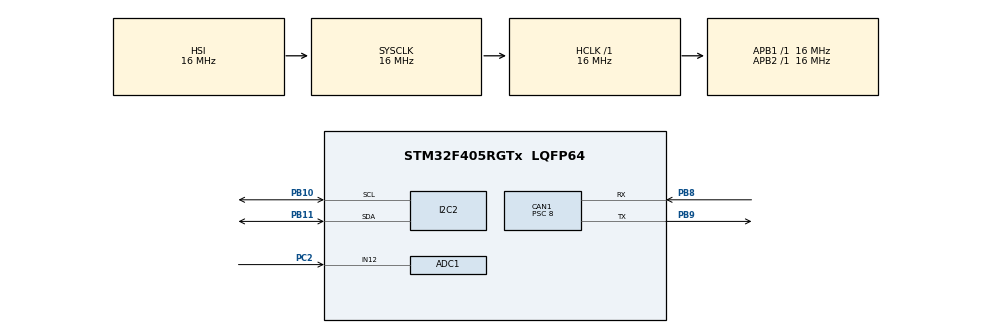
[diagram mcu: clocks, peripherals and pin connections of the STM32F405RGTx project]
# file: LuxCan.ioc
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ADC1.Channel-0\#ChannelRegularConversion=ADC_CHANNEL_12
ADC1.NbrOfConversionFlag=1
ADC1.Rank-0\#ChannelRegularConversion=1
ADC1.SamplingTime-0\#ChannelRegularConversion=ADC_SAMPLETIME_3CYCLES
ADC1.master=1
CAN1.BS1=CAN_BS1_13TQ
CAN1.BS2=CAN_BS2_2TQ
CAN1.CalculateBaudRate=125000
CAN1.CalculateTimeBit=8000
CAN1.CalculateTimeQuantum=500.0
CAN1.NART=ENABLE
CAN1.Prescaler=8
Mcu.Family=STM32F4
Mcu.Name=STM32F405RGTx
Mcu.Package=LQFP64
NVIC.PriorityGroup=NVIC_PRIORITYGROUP_4
PA13.Mode=Serial_Wire
PA13.Signal=SYS_JTMS-SWDIO
PA14.Mode=Serial_Wire
PA14.Signal=SYS_JTCK-SWCLK
PB10.GPIO_Pu=GPIO_PULLUP
PB10.Mode=I2C
PB10.Signal=I2C2_SCL
PB11.GPIO_Pu=GPIO_PULLUP
PB11.Mode=I2C
PB11.Signal=I2C2_SDA
PB8.Mode=CAN_Activate
PB8.Signal=CAN1_RX
PB9.Mode=CAN_Activate
PB9.Signal=CAN1_TX
PC14-OSC32_IN.Mode=LSE-External-Oscillator
PC14-OSC32_IN.Signal=RCC_OSC32_IN
PC15-OSC32_OUT.Mode=LSE-External-Oscillator
PC15-OSC32_OUT.Signal=RCC_OSC32_OUT
PC2.Signal=ADCx_IN12
PH0-OSC_IN.Mode=HSE-External-Oscillator
PH0-OSC_IN.Signal=RCC_OSC_IN
PH1-OSC_OUT.Mode=HSE-External-Oscillator
PH1-OSC_OUT.Signal=RCC_OSC_OUT
ProjectManager.HeapSize=0x200
ProjectManager.StackSize=0x400
ProjectManager.TargetToolchain=STM32CubeIDE
RCC.AHBFreq_Value=16000000
RCC.APB1Freq_Value=16000000
RCC.APB2Freq_Value=16000000
RCC.CortexFreq_Value=16000000
RCC.HSE_VALUE=25000000
RCC.HSI_VALUE=16000000
RCC.SYSCLKFreq_VALUE=16000000
RCC.VCOOutputFreq_Value=192000000
SH.ADCx_IN12.0=ADC1_IN12,IN12
board=custom

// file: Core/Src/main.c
/* USER CODE BEGIN Header */
/**
  ******************************************************************************
  * @file           : main.c
  * @brief          : Main program body
  ******************************************************************************
  * @attention
  *
  * Copyright (c) 2026 STMicroelectronics.
  * All rights reserved.
  *
  * This software is licensed under terms that can be found in the LICENSE file
  * in the root directory of this software component.
  * If no LICENSE file comes with this software, it is provided AS-IS.
  *
  ******************************************************************************
  */
/* USER CODE END Header */
#include "main.h"

/* USER CODE BEGIN Includes */
#include<string.h>
#include<stdio.h>

/* USER CODE END Includes */

/* USER CODE BEGIN PD */
#define SLAVE_ADDR (0x23<<1)

/* USER CODE END PD */

ADC_HandleTypeDef hadc1;

CAN_HandleTypeDef hcan1;

I2C_HandleTypeDef hi2c2;

void SystemClock_Config(void);
static void MX_GPIO_Init(void);
static void MX_CAN1_Init(void);
static void MX_I2C2_Init(void);
static void MX_ADC1_Init(void);
/* USER CODE BEGIN PFP */
 void can_sub(void);
 void CAN_Filter_Config(void);
/* USER CODE END PFP */

/* USER CODE BEGIN 0 */
CAN_TxHeaderTypeDef TxHeader;
CAN_RxHeaderTypeDef RxHeader;

uint8_t tx[8];   //data
uint8_t rx[8];
uint32_t txmailbox;

uint8_t cmd;
uint8_t rex[2];
uint16_t raw;
float lux;

uint16_t adc;
uint16_t speed;

/* USER CODE END 0 */

int main(void)
{

  /* MCU Configuration--------------------------------------------------------*/

  /* Reset of all peripherals, Initializes the Flash interface and the Systick. */
  HAL_Init();

  /* Configure the system clock */
  SystemClock_Config();

  /* Initialize all configured peripherals */
  MX_GPIO_Init();
  MX_CAN1_Init();
  MX_I2C2_Init();
  MX_ADC1_Init();
  /* USER CODE BEGIN 2 */
  cmd=0x01; //Power On
   	  HAL_I2C_Master_Transmit(&hi2c2, SLAVE_ADDR, &cmd, 1, HAL_MAX_DELAY);
   	  HAL_Delay(50);

   	/*  cmd=0x07;  //Reset
   	  	  HAL_I2C_Master_Transmit(&hi2c2, SLAVE_ADDR, &cmd, 1, HAL_MAX_DELAY);
   	  	  HAL_Delay(50);*/

   	  	cmd=0x10;
   	  		  HAL_I2C_Master_Transmit(&hi2c2, SLAVE_ADDR, &cmd, 1, HAL_MAX_DELAY);
   	  		  HAL_Delay(180);  //continuous mode 120ms

  CAN_Filter_Config();
   HAL_CAN_Start(&hcan1);
   HAL_CAN_ActivateNotification(&hcan1, CAN_IT_RX_FIFO0_MSG_PENDING);
   can_sub();

  /* USER CODE END 2 */

  /* Infinite loop */
  while (1)
  {

    /* USER CODE BEGIN 3 */
	  HAL_I2C_Master_Receive(&hi2c2, SLAVE_ADDR, rex, 2, HAL_MAX_DELAY);
	  	  raw= (rex[0]<<8)|rex[1];
	  	  lux=raw/1.2f;
	  	 HAL_ADC_Start(&hadc1);
		 HAL_ADC_PollForConversion(&hadc1, HAL_MAX_DELAY);
		 adc=HAL_ADC_GetValue(&hadc1);
		 speed=(adc * 240)/4095;
		 tx[2]=speed;

         if(lux >500) //morning
         {
        	 tx[0]=0; //low beam led is on
        	 tx[1]=0; //high beam off

         }
         else if(lux>250)  //evening
         {
        	 tx[0]=1; //low on
        	 tx[1]=0; //high off
         }
         else{                 //night
              tx[0]=1;
              if(speed>90)
              {
            	  tx[1]=1;
              }
              else
              {
            	  tx[1]=0;
              }
         }

	     if (HAL_CAN_GetTxMailboxesFreeLevel(&hcan1) > 0)
	     {
	         HAL_CAN_AddTxMessage(&hcan1, &TxHeader, tx, &txmailbox);
	     }

	     HAL_Delay(100);
  }
  /* USER CODE END 3 */
}

void SystemClock_Config(void)
{
  RCC_OscInitTypeDef RCC_OscInitStruct = {0};
  RCC_ClkInitTypeDef RCC_ClkInitStruct = {0};

  /** Configure the main internal regulator output voltage
  */
  __HAL_RCC_PWR_CLK_ENABLE();
  __HAL_PWR_VOLTAGESCALING_CONFIG(PWR_REGULATOR_VOLTAGE_SCALE1);

  /** Initializes the RCC Oscillators according to the specified parameters
  * in the RCC_OscInitTypeDef structure.
  */
  RCC_OscInitStruct.OscillatorType = RCC_OSCILLATORTYPE_HSI;
  RCC_OscInitStruct.HSIState = RCC_HSI_ON;
  RCC_OscInitStruct.HSICalibrationValue = RCC_HSICALIBRATION_DEFAULT;
  RCC_OscInitStruct.PLL.PLLState = RCC_PLL_NONE;
  if (HAL_RCC_OscConfig(&RCC_OscInitStruct) != HAL_OK)
  {
    Error_Handler();
  }

  /** Initializes the CPU, AHB and APB buses clocks
  */
  RCC_ClkInitStruct.ClockType = RCC_CLOCKTYPE_HCLK|RCC_CLOCKTYPE_SYSCLK
                              |RCC_CLOCKTYPE_PCLK1|RCC_CLOCKTYPE_PCLK2;
  RCC_ClkInitStruct.SYSCLKSource = RCC_SYSCLKSOURCE_HSI;
  RCC_ClkInitStruct.AHBCLKDivider = RCC_SYSCLK_DIV1;
  RCC_ClkInitStruct.APB1CLKDivider = RCC_HCLK_DIV1;
  RCC_ClkInitStruct.APB2CLKDivider = RCC_HCLK_DIV1;

  if (HAL_RCC_ClockConfig(&RCC_ClkInitStruct, FLASH_LATENCY_0) != HAL_OK)
  {
    Error_Handler();
  }
}

static void MX_ADC1_Init(void)
{

  ADC_ChannelConfTypeDef sConfig = {0};

  /** Configure the global features of the ADC (Clock, Resolution, Data Alignment and number of conversion)
  */
  hadc1.Instance = ADC1;
  hadc1.Init.ClockPrescaler = ADC_CLOCK_SYNC_PCLK_DIV2;
  hadc1.Init.Resolution = ADC_RESOLUTION_12B;
  hadc1.Init.ScanConvMode = DISABLE;
  hadc1.Init.ContinuousConvMode = DISABLE;
  hadc1.Init.DiscontinuousConvMode = DISABLE;
  hadc1.Init.ExternalTrigConvEdge = ADC_EXTERNALTRIGCONVEDGE_NONE;
  hadc1.Init.ExternalTrigConv = ADC_SOFTWARE_START;
  hadc1.Init.DataAlign = ADC_DATAALIGN_RIGHT;
  hadc1.Init.NbrOfConversion = 1;
  hadc1.Init.DMAContinuousRequests = DISABLE;
  hadc1.Init.EOCSelection = ADC_EOC_SINGLE_CONV;
  if (HAL_ADC_Init(&hadc1) != HAL_OK)
  {
    Error_Handler();
  }

  /** Configure for the selected ADC regular channel its corresponding rank in the sequencer and its sample time.
  */
  sConfig.Channel = ADC_CHANNEL_12;
  sConfig.Rank = 1;
  sConfig.SamplingTime = ADC_SAMPLETIME_3CYCLES;
  if (HAL_ADC_ConfigChannel(&hadc1, &sConfig) != HAL_OK)
  {
    Error_Handler();
  }

}

static void MX_CAN1_Init(void)
{

  hcan1.Instance = CAN1;
  hcan1.Init.Prescaler = 8;
  hcan1.Init.Mode = CAN_MODE_NORMAL;
  hcan1.Init.SyncJumpWidth = CAN_SJW_1TQ;
  hcan1.Init.TimeSeg1 = CAN_BS1_13TQ;
  hcan1.Init.TimeSeg2 = CAN_BS2_2TQ;
  hcan1.Init.TimeTriggeredMode = DISABLE;
  hcan1.Init.AutoBusOff = DISABLE;
  hcan1.Init.AutoWakeUp = DISABLE;
  hcan1.Init.AutoRetransmission = ENABLE;
  hcan1.Init.ReceiveFifoLocked = DISABLE;
  hcan1.Init.TransmitFifoPriority = DISABLE;
  if (HAL_CAN_Init(&hcan1) != HAL_OK)
  {
    Error_Handler();
  }

}

static void MX_I2C2_Init(void)
{

  hi2c2.Instance = I2C2;
  hi2c2.Init.ClockSpeed = 100000;
  hi2c2.Init.DutyCycle = I2C_DUTYCYCLE_2;
  hi2c2.Init.OwnAddress1 = 0;
  hi2c2.Init.AddressingMode = I2C_ADDRESSINGMODE_7BIT;
  hi2c2.Init.DualAddressMode = I2C_DUALADDRESS_DISABLE;
  hi2c2.Init.OwnAddress2 = 0;
  hi2c2.Init.GeneralCallMode = I2C_GENERALCALL_DISABLE;
  hi2c2.Init.NoStretchMode = I2C_NOSTRETCH_DISABLE;
  if (HAL_I2C_Init(&hi2c2) != HAL_OK)
  {
    Error_Handler();
  }

}

static void MX_GPIO_Init(void)
{
  /* USER CODE BEGIN MX_GPIO_Init_1 */
	 GPIO_InitTypeDef GPIO_InitStruct = {0};

  /* USER CODE END MX_GPIO_Init_1 */

  /* GPIO Ports Clock Enable */
  __HAL_RCC_GPIOC_CLK_ENABLE();
  __HAL_RCC_GPIOH_CLK_ENABLE();
  __HAL_RCC_GPIOB_CLK_ENABLE();
  __HAL_RCC_GPIOA_CLK_ENABLE();

  /* USER CODE BEGIN MX_GPIO_Init_2 */

      __HAL_RCC_GPIOB_CLK_ENABLE();

      /* I2C2 GPIO Configuration
         PB10 -> I2C2_SCL
         PB11 -> I2C2_SDA
      */
     GPIO_InitStruct.Pin = GPIO_PIN_10 | GPIO_PIN_11;
     GPIO_InitStruct.Mode = GPIO_MODE_AF_OD;          // Open-drain
     GPIO_InitStruct.Pull = GPIO_PULLUP;              // VERY IMPORTANT
     GPIO_InitStruct.Speed = GPIO_SPEED_FREQ_VERY_HIGH;
     GPIO_InitStruct.Alternate = GPIO_AF4_I2C2;
     HAL_GPIO_Init(GPIOB, &GPIO_InitStruct);

}
  /* USER CODE END MX_GPIO_Init_2 */

/* USER CODE BEGIN 4 */
void can_sub(void)
{
	TxHeader.StdId=0x123;
	TxHeader.ExtId=0;
	TxHeader.IDE=CAN_ID_STD;
	TxHeader.RTR=CAN_RTR_DATA;
	TxHeader.DLC=3;
	TxHeader.TransmitGlobalTime=DISABLE;
}

void HAL_CAN_RxFifo0MsgPendingCallback(CAN_HandleTypeDef *hcan)
{
    HAL_CAN_GetRxMessage(&hcan1, CAN_RX_FIFO0, &RxHeader, rx);

    if (RxHeader.StdId == 0x234)   // Response from Board B
    {
        HAL_GPIO_TogglePin(GPIOC, GPIO_PIN_6); // LED toggle
    }
}
void CAN_Filter_Config(void)
{
    CAN_FilterTypeDef filter;

    filter.FilterBank = 0;
    filter.FilterMode = CAN_FILTERMODE_IDMASK;
    filter.FilterScale = CAN_FILTERSCALE_32BIT;

    filter.FilterIdHigh = 0x0000;
    filter.FilterIdLow  = 0x0000;
    filter.FilterMaskIdHigh = 0x0000;
    filter.FilterMaskIdLow  = 0x0000;

    filter.FilterFIFOAssignment = CAN_RX_FIFO0;
    filter.FilterActivation = ENABLE;
    filter.SlaveStartFilterBank = 14;

    HAL_CAN_ConfigFilter(&hcan1, &filter);
}
/* USER CODE END 4 */

void Error_Handler(void)
{
  __disable_irq();
  while (1)
  {
  }
}
